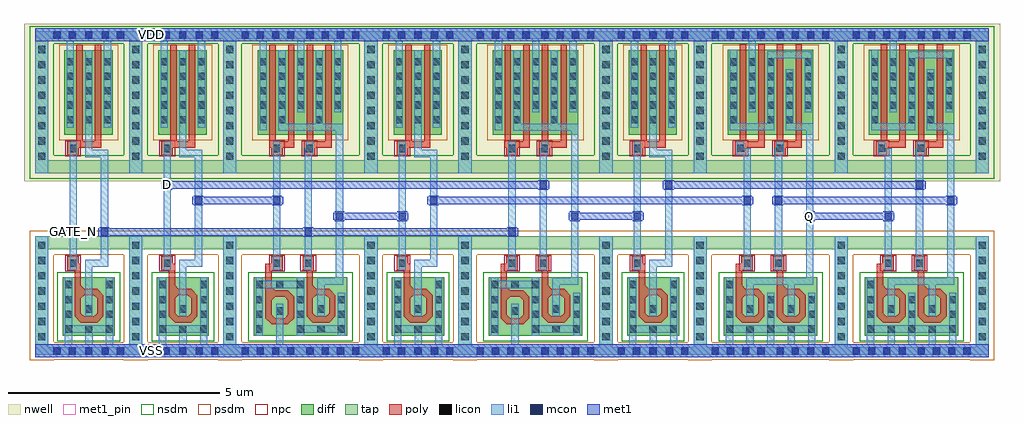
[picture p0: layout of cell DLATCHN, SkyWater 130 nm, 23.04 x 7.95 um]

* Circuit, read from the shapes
.subckt DLATCHN D GATE_N Q VDD VSS
XM1 VSS GATE_N n1 VSS sky130_fd_pr__nfet_01v8 w=2.56 l=0.1468
XM2 VSS D n2 VSS sky130_fd_pr__nfet_01v8 w=2.56 l=0.1468
XM3 n3 n2 VSS VSS sky130_fd_pr__nfet_01v8 w=2.6 l=0.149
XM4 n3 n1 n4 VSS sky130_fd_pr__nfet_01v8 w=2.56 l=0.1468
XM5 VSS n4 n5 VSS sky130_fd_pr__nfet_01v8 w=2.56 l=0.1468
XM6 n6 n1 VSS VSS sky130_fd_pr__nfet_01v8 w=2.6 l=0.149
XM7 n6 D n7 VSS sky130_fd_pr__nfet_01v8 w=2.56 l=0.1467
XM8 VSS n7 n8 VSS sky130_fd_pr__nfet_01v8 w=2.56 l=0.1468
XM9 VSS n5 Q VSS sky130_fd_pr__nfet_01v8 w=2.56 l=0.1451
XM10 VSS n9 Q VSS sky130_fd_pr__nfet_01v8 w=2.56 l=0.1469
XM11 VSS Q n9 VSS sky130_fd_pr__nfet_01v8 w=2.56 l=0.1451
XM12 VSS n8 n9 VSS sky130_fd_pr__nfet_01v8 w=2.56 l=0.1466
XM13 n1 GATE_N VDD VDD sky130_fd_pr__pfet_01v8 w=2 l=0.15 m=2
XM14 n2 D VDD VDD sky130_fd_pr__pfet_01v8 w=2 l=0.15 m=2
XM15 n4 n2 VDD VDD sky130_fd_pr__pfet_01v8 w=2 l=0.15 m=2
XM16 n4 n1 VDD VDD sky130_fd_pr__pfet_01v8 w=2 l=0.15 m=2
XM17 n5 n4 VDD VDD sky130_fd_pr__pfet_01v8 w=2 l=0.15 m=2
XM18 n7 n1 VDD VDD sky130_fd_pr__pfet_01v8 w=2 l=0.15 m=2
XM19 n7 D VDD VDD sky130_fd_pr__pfet_01v8 w=2 l=0.15 m=2
XM20 n8 n7 VDD VDD sky130_fd_pr__pfet_01v8 w=2 l=0.15 m=2
XM21 VDD n5 n10 VDD sky130_fd_pr__pfet_01v8 w=2 l=0.15 m=2
XM22 Q n9 n10 VDD sky130_fd_pr__pfet_01v8 w=2 l=0.15 m=2
XM23 VDD Q n11 VDD sky130_fd_pr__pfet_01v8 w=2 l=0.15 m=2
XM24 n9 n8 n11 VDD sky130_fd_pr__pfet_01v8 w=2 l=0.15 m=2
.ends

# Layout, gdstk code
import gdstk
lib = gdstk.Library(unit=1e-6, precision=1e-09)
def R(c, l, rs):  # rectangles x0, y0, x1, y1
    for r in rs: c.add(gdstk.rectangle(r[:2], r[2:], *l))
def A(c, l, x, y, w, h, nx, ny, dx, dy):  # array of equal rectangles
    R(c, l, [(x+i*dx, y+j*dy, x+i*dx+w, y+j*dy+h) for i in range(nx) for j in range(ny)])
def P(c, l, *ps):  # polygons
    for p in ps: c.add(gdstk.Polygon(p, *l))
nwell = (64, 20)
diff = (65, 20)
tap = (65, 44)
poly = (66, 20)
licon = (66, 44)
li1 = (67, 20)
mcon = (67, 44)
met1_pin = (68, 16)
met1 = (68, 20)
nsdm = (93, 44)
psdm = (94, 20)
npc = (95, 20)

dlatchn = lib.new_cell('DLATCHN')
R(dlatchn, nwell, [(-2.64,4.16,20.4,7.875)])
A(dlatchn, diff, 0.495, 0.505, 1.23, 1.38, 3, 1, 5.55, 0)
A(dlatchn, diff, 2.78, 0.505, 2.21, 1.38, 3, 1, 5.55, 0)
A(dlatchn, diff, 0.535, 5.25, 1.14, 2, 3, 1, 5.55, 0)
R(dlatchn, diff, [(-1.725,0.505,-0.495,1.885), (17.21,0.505,19.42,1.885), (-1.685,5.25,-0.545,7.25), (2.875,5.25,4.895,7.25), (8.425,5.25,10.445,7.25), (13.975,5.255,15.995,7.255), (17.305,5.255,19.325,7.255)])
A(dlatchn, tap, -2.375, 0.055, 0.31, 0.01, 3, 1, 2.22, 0)
A(dlatchn, tap, 13.165, 0.055, 0.31, 0.01, 3, 1, 3.33, 0)
A(dlatchn, tap, -2.375, 0.235, 0.31, 2.315, 3, 1, 2.22, 0)
A(dlatchn, tap, 13.165, 0.235, 0.31, 2.315, 3, 1, 3.33, 0)
A(dlatchn, tap, -2.375, 4.65, 0.31, 2.875, 3, 1, 2.22, 0)
A(dlatchn, tap, 13.165, 4.65, 0.31, 2.875, 3, 1, 3.33, 0)
R(dlatchn, tap, [(5.395,0.055,5.705,0.065), (7.615,0.055,7.925,0.065), (10.945,0.055,11.255,0.065), (-2.375,0.065,20.135,0.235), (5.395,0.235,5.705,2.55), (7.615,0.235,7.925,2.55), (10.945,0.235,11.255,2.55), (-2.375,2.55,20.135,2.86), (-2.375,4.34,20.135,4.65), (5.395,4.65,5.705,7.525), (7.615,4.65,7.925,7.525), (10.945,4.65,11.255,7.525), (-2.375,7.525,20.135,7.695)])
A(dlatchn, poly, 0.605, 2.055, 0.32, 0.15, 3, 1, 5.55, 0)
A(dlatchn, poly, 3.06, 2.055, 0.405, 0.15, 3, 1, 5.55, 0)
A(dlatchn, poly, 3.935, 2.055, 0.27, 0.33, 3, 1, 5.55, 0)
A(dlatchn, poly, 0.605, 4.945, 0.8, 0.15, 3, 1, 5.55, 0)
A(dlatchn, poly, 3.155, 5.095, 0.15, 2.285, 4, 1, 0.44, 0)
A(dlatchn, poly, 8.705, 5.095, 0.15, 2.285, 4, 1, 0.44, 0)
A(dlatchn, poly, 14.255, 5.1, 0.15, 2.285, 4, 1, 0.44, 0)
A(dlatchn, poly, 17.585, 5.1, 0.15, 2.285, 4, 1, 0.44, 0)
R(dlatchn, poly, [(3.21,0.775,3.59,0.815), (8.76,0.775,9.14,0.815), (-1.295,0.815,-0.915,0.965), (0.925,0.815,1.305,0.965), (3.17,0.815,3.59,0.925), (4.18,0.815,4.56,0.965), (6.475,0.815,6.855,0.965), (8.72,0.815,9.14,0.925), (9.73,0.815,10.11,0.965), (12.025,0.815,12.405,0.965), (14.31,0.815,14.69,0.965), (15.28,0.815,15.66,0.965), (17.64,0.815,18.02,0.965), (18.61,0.815,18.99,0.965), (3.06,0.925,3.21,1.43), (3.59,0.925,3.74,1.43), (8.61,0.925,8.76,1.43), (9.14,0.925,9.29,1.43), (-1.445,0.965,-1.295,1.47), (-0.915,0.965,-0.765,1.47), (0.775,0.965,0.925,1.47), (1.305,0.965,1.455,1.47), (4.03,0.965,4.18,1.47), (4.56,0.965,4.71,1.47), (6.325,0.965,6.475,1.47), (6.855,0.965,7.005,1.47), (9.58,0.965,9.73,1.47), (10.11,0.965,10.26,1.47), (11.875,0.965,12.025,1.47), (12.405,0.965,12.555,1.47), (14.16,0.965,14.31,1.47), (14.69,0.965,14.84,1.47), (15.13,0.965,15.28,1.395), (15.66,0.965,15.81,1.395), (17.49,0.965,17.64,1.47), (18.02,0.965,18.17,1.47), (18.46,0.965,18.61,1.395), (18.99,0.965,19.14,1.395), (15.13,1.395,15.285,1.47), (15.655,1.395,15.81,1.47), (18.46,1.395,18.615,1.47), (18.985,1.395,19.14,1.47), (3.06,1.43,3.59,1.58), (8.61,1.43,9.14,1.58), (-1.445,1.47,-0.915,1.62), (0.775,1.47,1.305,1.62), (4.03,1.47,4.56,1.62), (6.325,1.47,6.855,1.62), (9.58,1.47,10.11,1.62), (11.875,1.47,12.405,1.62), (14.16,1.47,14.69,1.62), (15.13,1.47,15.66,1.62), (17.49,1.47,18.02,1.62), (18.46,1.47,18.99,1.62), (3.06,1.58,3.21,2.055), (8.61,1.58,8.76,2.055), (-1.445,1.62,-1.295,2.055), (0.775,1.62,0.925,2.055), (4.03,1.62,4.18,2.055), (6.325,1.62,6.475,2.055), (9.58,1.62,9.73,2.055), (11.875,1.62,12.025,2.055), (14.16,1.62,14.31,2.055), (15.13,1.62,15.28,2.055), (17.49,1.62,17.64,2.055), (18.46,1.62,18.61,2.055), (-1.615,2.055,-1.295,2.205), (17.49,2.055,17.895,2.205), (18.365,2.055,18.635,2.385), (-1.615,2.205,-1.345,2.385), (0.605,2.205,0.875,2.385), (3.195,2.205,3.465,2.385), (6.155,2.205,6.425,2.385), (8.745,2.205,9.015,2.385), (11.705,2.205,11.975,2.385), (14.295,2.205,14.565,2.385), (17.625,2.205,17.895,2.385), (-1.615,4.765,-1.345,4.945), (0.605,4.765,0.875,4.945), (3.195,4.765,3.465,4.945), (3.965,4.765,4.235,4.945), (6.155,4.765,6.425,4.945), (8.745,4.765,9.015,4.945), (9.515,4.765,9.785,4.945), (11.705,4.765,11.975,4.945), (14.14,4.77,14.41,4.95), (15.07,4.77,15.34,4.95), (17.47,4.77,17.74,4.95), (18.4,4.77,18.67,4.95), (-1.615,4.945,-0.815,5.095), (3.155,4.945,3.745,5.095), (3.965,4.945,4.625,5.095), (8.705,4.945,9.295,5.095), (9.515,4.945,10.175,5.095), (14.14,4.95,14.845,5.1), (15.07,4.95,15.725,5.1), (17.47,4.95,18.175,5.1), (18.4,4.95,19.055,5.1), (-1.405,5.095,-1.255,7.38), (-0.965,5.095,-0.815,7.38), (0.815,5.095,0.965,7.38), (1.255,5.095,1.405,7.38), (6.365,5.095,6.515,7.38), (6.805,5.095,6.955,7.38), (11.915,5.095,12.065,7.38), (12.355,5.095,12.505,7.38)])
P(dlatchn, poly, [(-1.295,1.7),(-1.295,1.62),(-1.215,1.62)],
  [(0.925,1.7),(0.925,1.62),(1.005,1.62)],
  [(-0.915,1.62),(-0.915,1.47),(-0.765,1.47)],
  [(-1.295,1.39),(-1.295,1.47),(-1.215,1.47)],
  [(-0.995,1.47),(-0.915,1.47),(-0.915,1.39)],
  [(-1.295,1.045),(-1.295,0.965),(-1.215,0.965)],
  [(-0.995,0.965),(-0.915,0.965),(-0.915,1.045)],
  [(-1.445,0.965),(-1.295,0.965),(-1.295,0.815)],
  [(-0.915,0.815),(-0.915,0.965),(-0.765,0.965)],
  [(1.305,1.62),(1.305,1.47),(1.455,1.47)],
  [(0.925,1.39),(0.925,1.47),(1.005,1.47)],
  [(1.225,1.47),(1.305,1.47),(1.305,1.39)],
  [(0.925,1.045),(0.925,0.965),(1.005,0.965)],
  [(1.225,0.965),(1.305,0.965),(1.305,1.045)],
  [(0.775,0.965),(0.925,0.965),(0.925,0.815)],
  [(1.305,0.815),(1.305,0.965),(1.455,0.965)],
  [(3.21,1.66),(3.21,1.58),(3.29,1.58)],
  [(4.18,1.7),(4.18,1.62),(4.26,1.62)],
  [(6.475,1.7),(6.475,1.62),(6.555,1.62)],
  [(3.59,1.58),(3.59,1.43),(3.74,1.43)],
  [(3.21,1.35),(3.21,1.43),(3.29,1.43)],
  [(3.51,1.43),(3.59,1.43),(3.59,1.35)],
  [(3.21,1.005),(3.21,0.925),(3.29,0.925)],
  [(3.51,0.925),(3.59,0.925),(3.59,1.005)],
  [(3.06,0.925),(3.17,0.925),(3.17,0.815)],
  [(3.17,0.815),(3.21,0.815),(3.21,0.775)],
  [(3.59,0.775),(3.59,0.925),(3.74,0.925)],
  [(4.56,1.62),(4.56,1.47),(4.71,1.47)],
  [(4.18,1.39),(4.18,1.47),(4.26,1.47)],
  [(4.48,1.47),(4.56,1.47),(4.56,1.39)],
  [(4.18,1.045),(4.18,0.965),(4.26,0.965)],
  [(4.48,0.965),(4.56,0.965),(4.56,1.045)],
  [(4.03,0.965),(4.18,0.965),(4.18,0.815)],
  [(4.56,0.815),(4.56,0.965),(4.71,0.965)],
  [(6.855,1.62),(6.855,1.47),(7.005,1.47)],
  [(6.475,1.39),(6.475,1.47),(6.555,1.47)],
  [(6.775,1.47),(6.855,1.47),(6.855,1.39)],
  [(6.475,1.045),(6.475,0.965),(6.555,0.965)],
  [(6.775,0.965),(6.855,0.965),(6.855,1.045)],
  [(6.325,0.965),(6.475,0.965),(6.475,0.815)],
  [(6.855,0.815),(6.855,0.965),(7.005,0.965)],
  [(8.76,1.66),(8.76,1.58),(8.84,1.58)],
  [(9.73,1.7),(9.73,1.62),(9.81,1.62)],
  [(12.025,1.7),(12.025,1.62),(12.105,1.62)],
  [(14.31,1.7),(14.31,1.62),(14.39,1.62)],
  [(15.28,1.7),(15.28,1.62),(15.36,1.62)],
  [(17.64,1.7),(17.64,1.62),(17.72,1.62)],
  [(18.61,1.7),(18.61,1.62),(18.69,1.62)],
  [(9.14,1.58),(9.14,1.43),(9.29,1.43)],
  [(8.76,1.35),(8.76,1.43),(8.84,1.43)],
  [(9.06,1.43),(9.14,1.43),(9.14,1.35)],
  [(8.76,1.005),(8.76,0.925),(8.84,0.925)],
  [(9.06,0.925),(9.14,0.925),(9.14,1.005)],
  [(8.61,0.925),(8.72,0.925),(8.72,0.815)],
  [(8.72,0.815),(8.76,0.815),(8.76,0.775)],
  [(9.14,0.775),(9.14,0.925),(9.29,0.925)],
  [(10.11,1.62),(10.11,1.47),(10.26,1.47)],
  [(9.73,1.39),(9.73,1.47),(9.81,1.47)],
  [(10.03,1.47),(10.11,1.47),(10.11,1.39)],
  [(9.73,1.045),(9.73,0.965),(9.81,0.965)],
  [(10.03,0.965),(10.11,0.965),(10.11,1.045)],
  [(9.58,0.965),(9.73,0.965),(9.73,0.815)],
  [(10.11,0.815),(10.11,0.965),(10.26,0.965)],
  [(12.405,1.62),(12.405,1.47),(12.555,1.47)],
  [(12.025,1.39),(12.025,1.47),(12.105,1.47)],
  [(12.325,1.47),(12.405,1.47),(12.405,1.39)],
  [(12.025,1.045),(12.025,0.965),(12.105,0.965)],
  [(12.325,0.965),(12.405,0.965),(12.405,1.045)],
  [(11.875,0.965),(12.025,0.965),(12.025,0.815)],
  [(12.405,0.815),(12.405,0.965),(12.555,0.965)],
  [(14.69,1.62),(14.69,1.47),(14.84,1.47)],
  [(14.31,1.39),(14.31,1.47),(14.39,1.47)],
  [(14.61,1.47),(14.69,1.47),(14.69,1.39)],
  [(14.31,1.045),(14.31,0.965),(14.39,0.965)],
  [(14.61,0.965),(14.69,0.965),(14.69,1.045)],
  [(14.16,0.965),(14.31,0.965),(14.31,0.815)],
  [(14.69,0.815),(14.69,0.965),(14.84,0.965)],
  [(15.66,1.62),(15.66,1.47),(15.81,1.47)],
  [(15.285,1.395),(15.285,1.47),(15.36,1.47)],
  [(15.58,1.47),(15.655,1.47),(15.655,1.395)],
  [(15.28,1.045),(15.28,0.965),(15.36,0.965)],
  [(15.58,0.965),(15.66,0.965),(15.66,1.045)],
  [(15.13,0.965),(15.28,0.965),(15.28,0.815)],
  [(15.66,0.815),(15.66,0.965),(15.81,0.965)],
  [(18.02,1.62),(18.02,1.47),(18.17,1.47)],
  [(17.64,1.39),(17.64,1.47),(17.72,1.47)],
  [(17.94,1.47),(18.02,1.47),(18.02,1.39)],
  [(17.64,1.045),(17.64,0.965),(17.72,0.965)],
  [(17.94,0.965),(18.02,0.965),(18.02,1.045)],
  [(17.49,0.965),(17.64,0.965),(17.64,0.815)],
  [(18.02,0.815),(18.02,0.965),(18.17,0.965)],
  [(18.99,1.62),(18.99,1.47),(19.14,1.47)],
  [(18.615,1.395),(18.615,1.47),(18.69,1.47)],
  [(18.91,1.47),(18.985,1.47),(18.985,1.395)],
  [(18.61,1.045),(18.61,0.965),(18.69,0.965)],
  [(18.91,0.965),(18.99,0.965),(18.99,1.045)],
  [(18.46,0.965),(18.61,0.965),(18.61,0.815)],
  [(18.99,0.815),(18.99,0.965),(19.14,0.965)])
A(dlatchn, licon, -1.585, 0.065, 0.17, 0.17, 3, 2, 0.39, 7.46)
A(dlatchn, licon, 0.635, 0.065, 0.17, 0.17, 3, 2, 0.39, 7.46)
A(dlatchn, licon, 2.495, 0.065, 0.17, 0.17, 4, 2, 0.36, 7.46)
A(dlatchn, licon, 4.025, 0.065, 0.17, 0.17, 4, 2, 0.36, 7.46)
A(dlatchn, licon, 6.185, 0.065, 0.17, 0.17, 3, 2, 0.39, 7.46)
A(dlatchn, licon, 8.045, 0.065, 0.17, 0.17, 4, 2, 0.36, 7.46)
A(dlatchn, licon, 9.575, 0.065, 0.17, 0.17, 4, 2, 0.36, 7.46)
A(dlatchn, licon, 11.735, 0.065, 0.17, 0.17, 3, 2, 0.39, 7.46)
A(dlatchn, licon, 13.595, 0.065, 0.17, 0.17, 4, 2, 0.36, 7.46)
A(dlatchn, licon, 15.125, 0.065, 0.17, 0.17, 4, 2, 0.36, 7.46)
A(dlatchn, licon, 16.925, 0.065, 0.17, 0.17, 4, 2, 0.36, 7.46)
A(dlatchn, licon, 18.455, 0.065, 0.17, 0.17, 4, 2, 0.36, 7.46)
A(dlatchn, licon, -2.305, 0.4, 0.17, 0.17, 3, 7, 2.22, 0.36)
A(dlatchn, licon, 5.465, 0.4, 0.17, 0.17, 1, 7, 0, 0.36)
A(dlatchn, licon, 7.685, 0.4, 0.17, 0.17, 1, 7, 0, 0.36)
A(dlatchn, licon, 11.015, 0.4, 0.17, 0.17, 1, 7, 0, 0.36)
A(dlatchn, licon, 13.235, 0.4, 0.17, 0.17, 3, 7, 3.33, 0.36)
A(dlatchn, licon, 3.8, 0.585, 0.17, 0.17, 3, 1, 0.485, 0)
A(dlatchn, licon, 9.35, 0.585, 0.17, 0.17, 3, 1, 0.485, 0)
A(dlatchn, licon, 13.93, 0.585, 0.17, 0.17, 5, 1, 0.485, 0)
A(dlatchn, licon, 17.26, 0.585, 0.17, 0.17, 5, 1, 0.485, 0)
A(dlatchn, licon, 2.83, 0.935, 0.17, 0.17, 3, 2, 0.97, 0.34)
A(dlatchn, licon, 8.38, 0.935, 0.17, 0.17, 3, 2, 0.97, 0.34)
A(dlatchn, licon, 13.93, 0.935, 0.17, 0.17, 3, 2, 0.97, 0.34)
A(dlatchn, licon, 17.26, 0.935, 0.17, 0.17, 3, 2, 0.97, 0.34)
A(dlatchn, licon, 9.835, 1.055, 0.17, 0.17, 3, 1, 2.29, 0)
A(dlatchn, licon, 2.83, 1.635, 0.17, 0.17, 3, 1, 0.485, 0)
A(dlatchn, licon, 8.38, 1.635, 0.17, 0.17, 3, 1, 0.485, 0)
A(dlatchn, licon, -2.305, 4.66, 0.17, 0.17, 3, 8, 2.22, 0.36)
A(dlatchn, licon, 5.465, 4.66, 0.17, 0.17, 1, 8, 0, 0.36)
A(dlatchn, licon, 7.685, 4.66, 0.17, 0.17, 1, 8, 0, 0.36)
A(dlatchn, licon, 11.015, 4.66, 0.17, 0.17, 1, 8, 0, 0.36)
A(dlatchn, licon, 13.235, 4.66, 0.17, 0.17, 3, 8, 3.33, 0.36)
A(dlatchn, licon, -1.635, 5.525, 0.17, 0.17, 3, 2, 0.44, 0.345)
A(dlatchn, licon, 0.585, 5.525, 0.17, 0.17, 3, 2, 0.44, 0.345)
A(dlatchn, licon, 6.135, 5.525, 0.17, 0.17, 3, 2, 0.44, 0.345)
A(dlatchn, licon, 11.685, 5.525, 0.17, 0.17, 3, 2, 0.44, 0.345)
A(dlatchn, licon, 14.025, 5.865, 0.17, 0.17, 5, 3, 0.44, 0.34)
A(dlatchn, licon, 17.355, 5.865, 0.17, 0.17, 5, 3, 0.44, 0.34)
A(dlatchn, licon, 2.925, 5.87, 0.17, 0.17, 5, 4, 0.44, 0.34)
A(dlatchn, licon, 8.475, 5.87, 0.17, 0.17, 5, 4, 0.44, 0.34)
A(dlatchn, licon, -1.635, 6.21, 0.17, 0.17, 3, 3, 0.44, 0.34)
A(dlatchn, licon, 0.585, 6.21, 0.17, 0.17, 3, 3, 0.44, 0.34)
A(dlatchn, licon, 6.135, 6.21, 0.17, 0.17, 3, 3, 0.44, 0.34)
A(dlatchn, licon, 11.685, 6.21, 0.17, 0.17, 3, 3, 0.44, 0.34)
A(dlatchn, licon, 14.025, 6.885, 0.17, 0.17, 3, 1, 0.44, 0)
A(dlatchn, licon, 17.355, 6.885, 0.17, 0.17, 3, 1, 0.44, 0)
R(dlatchn, licon, [(-1.945,0.065,-1.775,0.235), (-0.445,0.065,-0.275,0.235), (0.275,0.065,0.445,0.235), (1.775,0.065,1.945,0.235), (5.825,0.065,5.995,0.235), (7.325,0.065,7.495,0.235), (11.375,0.065,11.545,0.235), (12.875,0.065,13.045,0.235), (-1.675,0.585,-1.505,0.755), (-1.195,0.585,-1.025,0.755), (-0.705,0.585,-0.535,0.755), (0.545,0.585,0.715,0.755), (1.025,0.585,1.195,0.755), (1.515,0.585,1.685,0.755), (2.83,0.585,3,0.755), (6.095,0.585,6.265,0.755), (6.575,0.585,6.745,0.755), (7.065,0.585,7.235,0.755), (8.38,0.585,8.55,0.755), (11.645,0.585,11.815,0.755), (12.125,0.585,12.295,0.755), (12.615,0.585,12.785,0.755), (-1.675,0.935,-1.505,1.105), (-0.705,0.935,-0.535,1.105), (0.545,0.935,0.715,1.105), (1.515,0.935,1.685,1.105), (6.095,0.935,6.265,1.105), (7.065,0.935,7.235,1.105), (11.645,0.935,11.815,1.105), (12.615,0.935,12.785,1.105), (3.315,1.01,3.485,1.18), (8.865,1.01,9.035,1.18), (-1.195,1.055,-1.025,1.225), (1.025,1.055,1.195,1.225), (4.285,1.055,4.455,1.225), (6.575,1.055,6.745,1.225), (15.385,1.055,15.555,1.225), (17.745,1.055,17.915,1.225), (18.715,1.055,18.885,1.225), (-1.675,1.275,-1.505,1.445), (-0.705,1.275,-0.535,1.445), (0.545,1.275,0.715,1.445), (1.515,1.275,1.685,1.445), (6.095,1.275,6.265,1.445), (7.065,1.275,7.235,1.445), (11.645,1.275,11.815,1.445), (12.615,1.275,12.785,1.445), (-1.675,1.635,-1.505,1.805), (-0.705,1.635,-0.535,1.805), (0.545,1.635,0.715,1.805), (1.515,1.635,1.685,1.805), (6.095,1.635,6.265,1.805), (7.065,1.635,7.235,1.805), (11.645,1.635,11.815,1.805), (12.615,1.635,12.785,1.805), (13.93,1.635,14.1,1.805), (17.26,1.635,17.43,1.805), (-1.565,2.135,-1.395,2.305), (0.655,2.135,0.825,2.305), (3.245,2.135,3.415,2.305), (3.985,2.135,4.155,2.305), (6.205,2.135,6.375,2.305), (8.795,2.135,8.965,2.305), (9.535,2.135,9.705,2.305), (11.755,2.135,11.925,2.305), (14.345,2.135,14.515,2.305), (15.085,2.135,15.255,2.305), (17.675,2.135,17.845,2.305), (18.415,2.135,18.585,2.305), (-1.565,4.845,-1.395,5.015), (0.655,4.845,0.825,5.015), (3.245,4.845,3.415,5.015), (4.015,4.845,4.185,5.015), (6.205,4.845,6.375,5.015), (8.795,4.845,8.965,5.015), (9.565,4.845,9.735,5.015), (11.755,4.845,11.925,5.015), (14.19,4.85,14.36,5.02), (15.12,4.85,15.29,5.02), (17.52,4.85,17.69,5.02), (18.45,4.85,18.62,5.02), (2.925,5.525,3.095,5.695), (3.365,5.525,3.535,5.695), (4.245,5.525,4.415,5.695), (8.475,5.525,8.645,5.695), (8.915,5.525,9.085,5.695), (9.795,5.525,9.965,5.695), (14.025,5.525,14.195,5.695), (14.905,5.525,15.075,5.695), (15.345,5.525,15.515,5.695), (17.355,5.525,17.525,5.695), (18.235,5.525,18.405,5.695), (18.675,5.525,18.845,5.695), (15.785,6.885,15.955,7.055), (19.115,6.885,19.285,7.055), (-1.945,7.525,-1.775,7.695), (-0.445,7.525,-0.275,7.695), (0.275,7.525,0.445,7.695), (1.775,7.525,1.945,7.695), (5.825,7.525,5.995,7.695), (7.325,7.525,7.495,7.695), (11.375,7.525,11.545,7.695), (12.875,7.525,13.045,7.695)])
A(dlatchn, li1, -2.375, 0.31, 0.31, 2.55, 3, 1, 2.22, 0)
A(dlatchn, li1, -1.675, 0.31, 0.17, 0.275, 3, 1, 0.485, 0)
A(dlatchn, li1, 0.545, 0.31, 0.17, 0.275, 3, 1, 0.485, 0)
A(dlatchn, li1, 6.095, 0.31, 0.17, 0.275, 3, 1, 0.485, 0)
A(dlatchn, li1, 11.645, 0.31, 0.17, 0.275, 3, 1, 0.485, 0)
A(dlatchn, li1, 13.165, 0.31, 0.31, 2.55, 3, 1, 3.33, 0)
A(dlatchn, li1, 13.93, 0.31, 0.17, 0.275, 5, 1, 0.485, 0)
A(dlatchn, li1, 17.26, 0.31, 0.17, 0.275, 5, 1, 0.485, 0)
A(dlatchn, li1, 1.025, 0.975, 0.17, 1.16, 3, 1, 5.55, 0)
A(dlatchn, li1, 1.025, 2.135, 0.54, 0.17, 3, 2, 5.55, 2.59)
A(dlatchn, li1, 1.395, 2.305, 0.17, 2.42, 3, 1, 5.55, 0)
A(dlatchn, li1, -2.375, 4.34, 0.31, 3.12, 3, 1, 2.22, 0)
A(dlatchn, li1, 13.165, 4.34, 0.31, 3.12, 3, 1, 3.33, 0)
A(dlatchn, li1, 1.025, 4.895, 0.17, 2.355, 3, 1, 5.55, 0)
R(dlatchn, li1, [(-2.375,0,20.135,0.31), (3.315,0.31,3.485,1.26), (5.395,0.31,5.705,2.86), (7.615,0.31,7.925,2.86), (8.865,0.31,9.035,1.26), (10.945,0.31,11.255,2.86), (2.83,0.505,3,1.635), (3.8,0.505,3.97,0.585), (4.77,0.505,4.94,0.585), (8.38,0.505,8.55,1.635), (9.35,0.505,9.52,0.585), (10.32,0.505,10.49,0.585), (-1.675,0.585,-0.535,0.755), (0.545,0.585,1.685,0.755), (3.8,0.585,4.94,0.755), (6.095,0.585,7.235,0.755), (9.35,0.585,10.49,0.755), (11.645,0.585,12.785,0.755), (13.93,0.585,16.04,0.755), (17.26,0.585,19.37,0.755), (-1.675,0.755,-1.505,1.885), (-0.705,0.755,-0.535,1.885), (0.545,0.755,0.715,1.885), (1.515,0.755,1.685,1.885), (3.8,0.755,3.97,1.635), (4.77,0.755,4.94,1.525), (6.095,0.755,6.265,1.885), (7.065,0.755,7.235,1.885), (9.35,0.755,9.52,1.635), (10.32,0.755,10.49,1.525), (11.645,0.755,11.815,1.885), (12.615,0.755,12.785,1.885), (13.93,0.755,14.1,1.885), (14.9,0.755,15.07,1.53), (15.87,0.755,16.04,1.53), (17.26,0.755,17.43,1.885), (18.23,0.755,18.4,1.53), (19.2,0.755,19.37,1.53), (-1.195,0.975,-1.025,2.135), (4.285,0.975,4.455,1.71), (9.835,0.975,10.005,1.71), (14.415,0.975,14.585,1.71), (15.385,0.975,15.555,1.71), (17.745,0.975,17.915,1.71), (18.715,0.975,18.885,1.71), (2.83,1.635,3.97,1.805), (8.38,1.635,9.52,1.805), (4.285,1.71,4.895,1.88), (9.835,1.71,10.445,1.88), (14.415,1.71,15.995,1.88), (17.745,1.71,19.325,1.88), (2.83,1.805,3,1.885), (3.8,1.805,3.97,1.885), (8.38,1.805,8.55,1.885), (9.35,1.805,9.52,1.885), (4.725,1.88,4.895,5.345), (10.275,1.88,10.445,5.345), (15.825,1.88,15.995,5.355), (19.155,1.88,19.325,5.355), (-1.565,2.055,-1.395,5.095), (0.655,2.055,0.825,5.095), (3.245,2.055,3.415,5.095), (3.985,2.055,4.155,4.765), (6.205,2.055,6.375,5.095), (8.795,2.055,8.965,5.095), (9.535,2.055,9.705,4.765), (11.755,2.055,11.925,5.095), (14.345,2.055,14.515,4.77), (15.085,2.055,15.255,4.77), (17.675,2.055,17.845,4.77), (18.415,2.055,18.585,4.77), (-1.195,2.135,-0.655,2.305), (-0.825,2.305,-0.655,4.725), (5.395,4.34,5.705,7.46), (7.615,4.34,7.925,7.46), (10.945,4.34,11.255,7.46), (-1.195,4.725,-0.655,4.895), (3.985,4.765,4.185,4.94), (9.535,4.765,9.735,4.94), (14.19,4.77,14.515,4.94), (15.085,4.77,15.29,4.94), (17.52,4.77,17.845,4.94), (18.415,4.77,18.62,4.94), (-1.195,4.895,-1.025,7.25), (4.015,4.94,4.185,5.095), (9.565,4.94,9.735,5.095), (14.19,4.94,14.36,5.1), (15.12,4.94,15.29,5.1), (17.52,4.94,17.69,5.1), (18.45,4.94,18.62,5.1), (3.365,5.345,4.895,5.515), (8.915,5.345,10.445,5.515), (14.025,5.355,15.075,5.525), (15.345,5.355,15.995,5.525), (17.355,5.355,18.405,5.525), (18.675,5.355,19.325,5.525), (2.925,5.365,3.095,7.46), (8.475,5.365,8.645,7.46), (-1.635,5.415,-1.465,7.46), (-0.755,5.415,-0.585,7.46), (0.585,5.415,0.755,7.46), (1.465,5.415,1.635,7.46), (6.135,5.415,6.305,7.46), (7.015,5.415,7.185,7.46), (11.685,5.415,11.855,7.46), (12.565,5.415,12.735,7.46), (3.365,5.515,3.535,7.25), (4.245,5.515,4.415,7.25), (8.915,5.515,9.085,7.25), (9.795,5.515,9.965,7.25), (14.025,5.525,14.195,7.255), (14.905,5.525,15.075,7.055), (15.345,5.525,15.515,6.795), (17.355,5.525,17.525,7.255), (18.235,5.525,18.405,7.055), (18.675,5.525,18.845,6.795), (3.805,5.785,3.975,7.46), (4.685,5.785,4.855,7.46), (9.355,5.785,9.525,7.46), (10.235,5.785,10.405,7.46), (14.465,5.785,14.635,7.46), (15.785,5.785,15.955,7.055), (17.795,5.785,17.965,7.46), (19.115,5.785,19.285,7.055), (14.905,7.055,15.955,7.225), (18.235,7.055,19.285,7.225), (-2.375,7.46,20.135,7.77)])
A(dlatchn, mcon, -1.585, 0.065, 0.17, 0.17, 3, 2, 0.39, 7.46)
A(dlatchn, mcon, 0.635, 0.065, 0.17, 0.17, 3, 2, 0.39, 7.46)
A(dlatchn, mcon, 2.495, 0.065, 0.17, 0.17, 4, 2, 0.36, 7.46)
A(dlatchn, mcon, 4.025, 0.065, 0.17, 0.17, 4, 2, 0.36, 7.46)
A(dlatchn, mcon, 6.185, 0.065, 0.17, 0.17, 3, 2, 0.39, 7.46)
A(dlatchn, mcon, 8.045, 0.065, 0.17, 0.17, 4, 2, 0.36, 7.46)
A(dlatchn, mcon, 9.575, 0.065, 0.17, 0.17, 4, 2, 0.36, 7.46)
A(dlatchn, mcon, 11.735, 0.065, 0.17, 0.17, 3, 2, 0.39, 7.46)
A(dlatchn, mcon, 13.595, 0.065, 0.17, 0.17, 4, 2, 0.36, 7.46)
A(dlatchn, mcon, 15.125, 0.065, 0.17, 0.17, 4, 2, 0.36, 7.46)
A(dlatchn, mcon, 16.925, 0.065, 0.17, 0.17, 4, 2, 0.36, 7.46)
A(dlatchn, mcon, 18.455, 0.065, 0.17, 0.17, 4, 2, 0.36, 7.46)
A(dlatchn, mcon, -0.825, 2.875, 0.17, 0.17, 3, 1, 4.81, 0)
R(dlatchn, mcon, [(-1.945,0.065,-1.775,0.235), (-0.445,0.065,-0.275,0.235), (0.275,0.065,0.445,0.235), (1.775,0.065,1.945,0.235), (5.825,0.065,5.995,0.235), (7.325,0.065,7.495,0.235), (11.375,0.065,11.545,0.235), (12.875,0.065,13.045,0.235), (-1.565,2.875,-1.395,3.045), (4.725,3.245,4.895,3.415), (6.205,3.245,6.375,3.415), (10.275,3.245,10.445,3.415), (11.755,3.245,11.925,3.415), (15.825,3.245,15.995,3.415), (17.675,3.245,17.845,3.415), (1.395,3.615,1.565,3.785), (3.245,3.615,3.415,3.785), (6.945,3.615,7.115,3.785), (14.345,3.615,14.515,3.785), (15.085,3.615,15.255,3.785), (19.155,3.615,19.325,3.785), (0.655,3.985,0.825,4.155), (9.535,3.985,9.705,4.155), (12.495,3.985,12.665,4.155), (18.415,3.985,18.585,4.155), (-1.945,7.525,-1.775,7.695), (-0.445,7.525,-0.275,7.695), (0.275,7.525,0.445,7.695), (1.775,7.525,1.945,7.695), (5.825,7.525,5.995,7.695), (7.325,7.525,7.495,7.695), (11.375,7.525,11.545,7.695), (12.875,7.525,13.045,7.695)])
R(dlatchn, met1_pin, [(0.275,0.065,0.445,0.235), (-1.565,2.875,-1.395,3.045), (15.825,3.245,15.995,3.415), (0.655,3.985,0.825,4.155), (0.275,7.525,0.445,7.695)])
A(dlatchn, met1, -0.855, 2.845, 0.23, 0.03, 3, 2, 4.81, 0.2)
R(dlatchn, met1, [(-2.375,0,20.135,0.31), (-1.595,2.845,-1.365,2.875), (-1.745,2.875,-1.335,3.045), (-0.885,2.875,9.025,3.045), (-1.595,3.045,-1.365,3.075), (4.695,3.215,4.925,3.245), (6.175,3.215,6.405,3.245), (10.245,3.215,10.475,3.245), (11.725,3.215,11.955,3.245), (15.795,3.215,16.025,3.245), (17.645,3.215,17.875,3.245), (4.665,3.245,6.435,3.415), (10.215,3.245,11.985,3.415), (15.765,3.245,17.905,3.415), (4.695,3.415,4.925,3.445), (6.175,3.415,6.405,3.445), (10.245,3.415,10.475,3.445), (11.725,3.415,11.955,3.445), (15.795,3.415,16.025,3.445), (17.645,3.415,17.875,3.445), (1.365,3.585,1.595,3.615), (3.215,3.585,3.445,3.615), (6.915,3.585,7.145,3.615), (14.315,3.585,14.545,3.615), (15.055,3.585,15.285,3.615), (19.125,3.585,19.355,3.615), (1.335,3.615,3.475,3.785), (6.885,3.615,14.575,3.785), (15.025,3.615,19.385,3.785), (1.365,3.785,1.595,3.815), (3.215,3.785,3.445,3.815), (6.915,3.785,7.145,3.815), (14.315,3.785,14.545,3.815), (15.055,3.785,15.285,3.815), (19.125,3.785,19.355,3.815), (0.625,3.955,0.855,3.985), (9.505,3.955,9.735,3.985), (12.465,3.955,12.695,3.985), (18.385,3.955,18.615,3.985), (0.595,3.985,9.765,4.155), (12.435,3.985,18.645,4.155), (0.625,4.155,0.855,4.185), (9.505,4.155,9.735,4.185), (12.465,4.155,12.695,4.185), (18.385,4.155,18.615,4.185), (-2.375,7.46,20.135,7.77)])
A(dlatchn, nsdm, 0.37, 0.38, 1.48, 1.63, 3, 1, 5.55, 0)
A(dlatchn, nsdm, 2.655, 0.38, 2.46, 1.63, 3, 1, 5.55, 0)
A(dlatchn, nsdm, -2.5, 4.775, 0.56, 2.625, 3, 1, 2.22, 0)
A(dlatchn, nsdm, 13.04, 4.775, 0.56, 2.625, 3, 1, 3.33, 0)
R(dlatchn, nsdm, [(-1.85,0.38,-0.37,2.01), (17.085,0.38,19.545,2.01), (-2.5,4.215,20.26,4.775), (5.27,4.775,5.83,7.4), (7.49,4.775,8.05,7.4), (10.82,4.775,11.38,7.4), (-2.5,7.4,20.26,7.82)])
A(dlatchn, psdm, -2.5, -0.07, 0.56, 0.01, 3, 1, 2.22, 0)
A(dlatchn, psdm, 13.04, -0.07, 0.56, 0.01, 3, 1, 3.33, 0)
A(dlatchn, psdm, -2.5, 0.36, 0.56, 2.065, 3, 1, 2.22, 0)
A(dlatchn, psdm, 13.04, 0.36, 0.56, 2.065, 3, 1, 3.33, 0)
A(dlatchn, psdm, 0.41, 5.125, 1.39, 2.25, 3, 1, 5.55, 0)
R(dlatchn, psdm, [(5.27,-0.07,5.83,-0.06), (7.49,-0.07,8.05,-0.06), (10.82,-0.07,11.38,-0.06), (-2.5,-0.06,20.26,0.36), (5.27,0.36,5.83,2.425), (7.49,0.36,8.05,2.425), (10.82,0.36,11.38,2.425), (-2.5,2.425,20.26,2.985), (-1.81,5.125,-0.42,7.375), (2.75,5.125,5.02,7.375), (8.3,5.125,10.57,7.375), (13.85,5.13,16.12,7.38), (17.18,5.13,19.45,7.38)])
R(dlatchn, npc, [(-1.665,2.035,-1.295,2.405), (0.555,2.035,0.925,2.405), (3.145,2.035,3.515,2.405), (3.885,2.035,4.255,2.405), (6.105,2.035,6.475,2.405), (8.695,2.035,9.065,2.405), (9.435,2.035,9.805,2.405), (11.655,2.035,12.025,2.405), (14.245,2.035,14.615,2.405), (14.985,2.035,15.355,2.405), (17.575,2.035,17.945,2.405), (18.315,2.035,18.685,2.405), (-1.665,4.745,-1.295,5.115), (0.555,4.745,0.925,5.115), (3.145,4.745,3.515,5.115), (3.915,4.745,4.285,5.115), (6.105,4.745,6.475,5.115), (8.695,4.745,9.065,5.115), (9.465,4.745,9.835,5.115), (11.655,4.745,12.025,5.115), (14.09,4.75,14.46,5.12), (15.02,4.75,15.39,5.12), (17.42,4.75,17.79,5.12), (18.35,4.75,18.72,5.12)])
dlatchn.add(gdstk.Label('Q', (15.91,3.33), layer=68, texttype=16))
dlatchn.add(gdstk.Label('D', (0.74,4.07), layer=68, texttype=16))
dlatchn.add(gdstk.Label('GATE_N', (-1.48,2.96), layer=68, texttype=16))
dlatchn.add(gdstk.Label('VDD', (0.36,7.61), layer=68, texttype=16))
dlatchn.add(gdstk.Label('VSS', (0.36,0.15), layer=68, texttype=16))

lib.write_gds('DLATCHN.gds')
